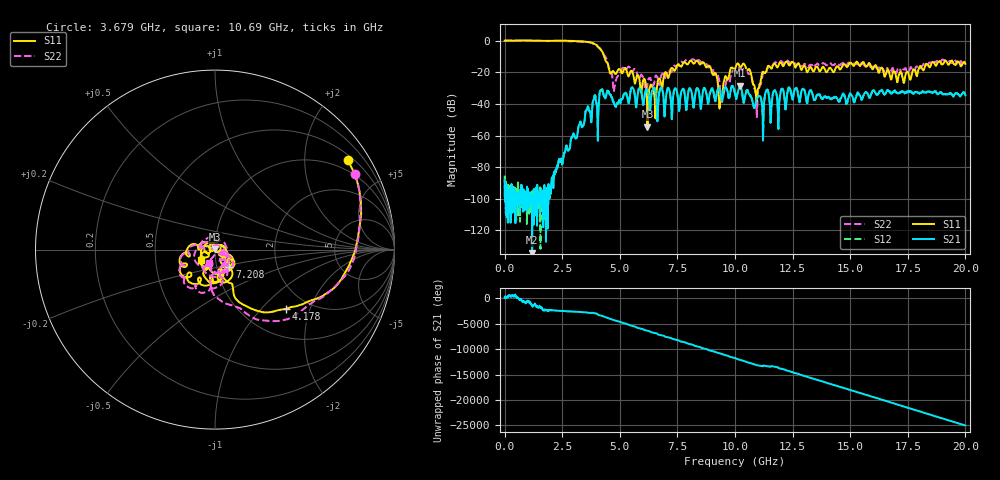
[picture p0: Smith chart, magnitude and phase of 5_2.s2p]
#  HZ  S  RI  R  50.00
! Rohde & Schwarz Vector Network Analyzer
! Rohde-Schwarz,ZNB20-2Port,1311601062102128,3.60
! Created: UTC 4/29/2024, 2:53:27 PM
! freq[Hz]  re:S11  im:S11  re:S21  im:S21  re:S12  im:S12  re:S22  im:S22
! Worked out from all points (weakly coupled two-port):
!   2007 points, 100 kHz to 20 GHz, reference 50 ohm
!   highest |S21| = -28.51 dB at 10.22 GHz (marker M1); lowest = -134.0 dB at 1.197 GHz (marker M2)
!   lowest |S11| = -54.4 dB at 6.201 GHz (marker M3), VSWR 1.00, Z = 49.9 + j0.136 ohm
!   |S11| at or under -10 dB: 4.324 GHz to end of sweep
!   |S22| runs from -48.8 to 0.1 dB; largest |S21 - S12| = 0.0021
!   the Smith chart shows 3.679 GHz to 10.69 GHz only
!   S11 on the Smith chart (normalised r, x): 3.679 GHz: 0.64, +3.14; 4.178 GHz: 1.55, -1.39; 7.208 GHz: 1.15, -0.23; 10.69 GHz: 0.85, -0.10
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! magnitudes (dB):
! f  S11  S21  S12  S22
! 100 kHz  0.0  -88.2  -85.3  0.1
! 1.197 GHz  0.0  -134.0  -95.1  0.0
! 2.223 GHz  -0.1  -83.0  -82.5  -0.3
! 3.34 GHz  -0.6  -53.9  -53.7  -0.6
! 3.679 GHz  -1.0  -44.7  -44.7  -1.1
! 4.178 GHz  -5.8  -31.8  -31.8  -5.7
! 4.766 GHz  -20.3  -40.4  -40.4  -29.7
! 5.374 GHz  -22.5  -39.6  -39.6  -16.4
! 6.201 GHz  -54.4  -32.4  -32.4  -27.8
! 6.67 GHz  -24.7  -39.1  -39.1  -25.5
! 7.208 GHz  -18.0  -37.0  -37.1  -20.0
! 8.624 GHz  -13.7  -31.4  -31.3  -14.2
! 9.153 GHz  -20.6  -38.2  -38.2  -21.9
! 9.382 GHz  -36.2  -34.2  -34.3  -35.0
! 10 GHz  -18.1  -33.6  -33.5  -20.2
! 10.22 GHz  -16.5  -28.5  -28.5  -17.4
! 10.69 GHz  -20.4  -35.5  -35.4  -21.6
! 10.93 GHz  -37.6  -37.5  -37.6  -37.7
! 11.71 GHz  -14.5  -31.7  -31.8  -14.1
! 13.34 GHz  -18.0  -32.7  -32.7  -15.3
! 16.67 GHz  -19.1  -31.8  -31.8  -20.5
! 20 GHz  -14.6  -34.5  -34.6  -14.3
